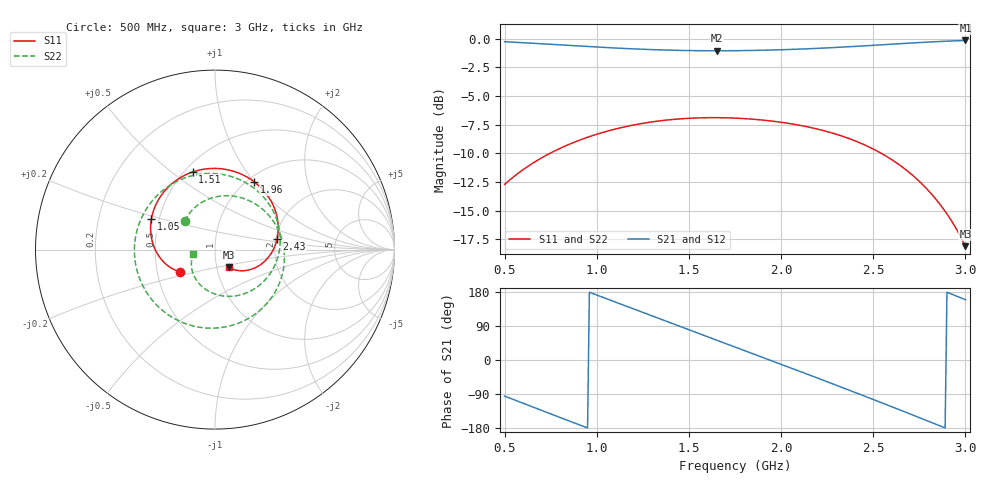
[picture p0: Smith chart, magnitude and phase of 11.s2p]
!freq-unit  param-type  data-format  keyword  impedance-ohms
# GHZ  S  RI  R  50
!Freq  ReS11  ImS11  ReS21  ImS21  ReS12  ImS12  ReS22  ImS22
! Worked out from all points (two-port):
!   251 points, 500 MHz to 3 GHz, reference 50 ohm
!   highest |S21| = -0.16 dB at 3 GHz (marker M1); lowest = -1.1 dB at 1.65 GHz (marker M2)
!   |S21| within 3 dB of the highest: start of sweep to end of sweep
!   lowest |S11| = -18.1 dB at 3 GHz (marker M3), VSWR 1.28, Z = 57 - j11.5 ohm
!   |S11| at or under -10 dB: start of sweep to 745.6 MHz; 2.544 GHz to end of sweep
!   |S22| runs from -18.2 to -6.9 dB; largest |S21 - S12| = 0
!   S11 on the Smith chart (normalised r, x): 500 MHz: 0.66, -0.17; 1.05 GHz: 0.45, +0.18; 1.51 GHz: 0.55, +0.60; 1.96 GHz: 1.08, +1.00; 2.43 GHz: 2.03, +0.27; 3 GHz: 1.14, -0.23
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0.5  -0.1953 -0.1245  -0.0896 -0.9654  -0.0896 -0.9654  -0.1681 0.1584
0.61  -0.2546 -0.0956  -0.4205 -0.8614  -0.4205 -0.8614  -0.0802 0.259
0.73  -0.3086 -0.042  -0.7086 -0.627  -0.7086 -0.627  0.0798 0.2999
0.83  -0.3403 0.0168  -0.8621 -0.3637  -0.8621 -0.3637  0.2253 0.2539
0.92  -0.356 0.0775  -0.9211 -0.0998  -0.9211 -0.0998  0.3301 0.1506
1.05  -0.3541 0.1721  -0.8704 0.2793  -0.8704 0.2793  0.3863 -0.0666
1.18  -0.3219 0.2655  -0.6752 0.6  -0.6752 0.6  0.2996 -0.2876
1.34  -0.2436 0.364  -0.2935 0.8434  -0.2935 0.8434  0.0344 -0.4344
1.51  -0.1251 0.4323  0.1801 0.8681  0.1801 0.8681  -0.2853 -0.3448
1.65  -0.0132 0.4523  0.5347 0.7052  0.5347 0.7052  -0.4365 -0.1087
1.75  0.0675 0.4453  0.7289 0.5032  0.7289 0.5032  -0.4377 0.094
1.86  0.1517 0.4179  0.8599 0.223  0.8599 0.223  -0.3338 0.2894
1.96  0.22 0.3767  0.8902 -0.0588  0.8902 -0.0588  -0.1679 0.3994
2.06  0.2769 0.322  0.8311 -0.3385  0.8311 -0.3385  0.026 0.421
2.17  0.3228 0.2499  0.6672 -0.6108  0.6672 -0.6108  0.218 0.3417
2.31  0.3512 0.1473  0.3358 -0.8522  0.3358 -0.8522  0.3542 0.1322
2.43  0.3458 0.0587  -0.0158 -0.9273  -0.0158 -0.9273  0.3414 -0.0683
2.59  0.2975 -0.0428  -0.4903 -0.807  -0.4903 -0.807  0.1754 -0.2412
2.71  0.2373 -0.0942  -0.7769 -0.5588  -0.7769 -0.5588  0.0162 -0.2526
2.81  0.1791 -0.1154  -0.9276 -0.2728  -0.9276 -0.2728  -0.0849 -0.1933
2.91  0.1213 -0.1155  -0.974 0.0527  -0.974 0.0527  -0.13 -0.103
3  0.0758 -0.099  -0.9179 0.3474  -0.9179 0.3474  -0.1204 -0.0266
